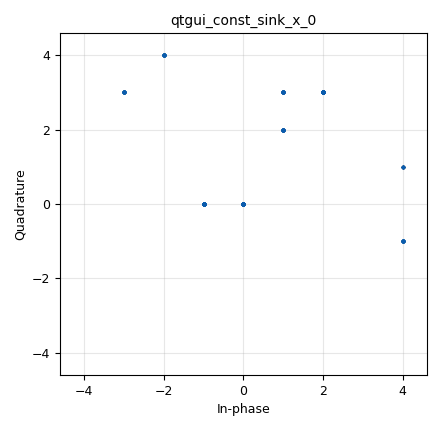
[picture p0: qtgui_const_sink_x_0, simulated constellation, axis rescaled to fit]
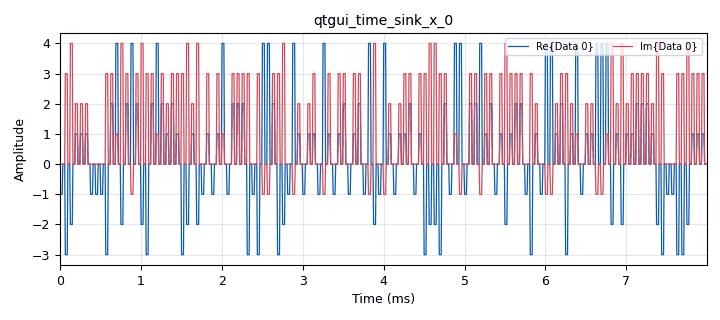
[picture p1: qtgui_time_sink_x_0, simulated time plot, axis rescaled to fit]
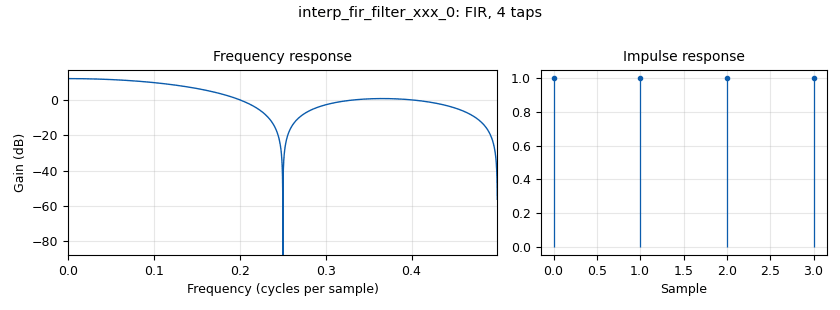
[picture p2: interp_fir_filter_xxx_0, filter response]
options:
  parameters:
    author: Jorge Bernal M
    generate_options: qt_gui
    id: options_1
    output_language: python
    title: eje1
  states: {}

blocks:
- name: M
  id: variable
  parameters:
    value: len(tabla_de_verdad_constelacion)
  states: {}
- name: Rb
  id: variable
  parameters:
    value: Rs*bps
  states: {}
- name: Rs
  id: variable
  parameters:
    value: '32000'
  states: {}
- name: bps
  id: variable
  parameters:
    value: int(math.log(M,2))
  states: {}
- name: h
  id: variable
  parameters:
    value: '[1]*sps'
  states: {}
- name: samp_rate
  id: variable
  parameters:
    value: Rs*sps
  states: {}
- name: sps
  id: variable
  parameters:
    value: '4'
  states: {}
- name: tabla_de_verdad_constelacion
  id: variable
  parameters:
    value: (2 + 3j, 1 + 2j, -3 + 3j, 4 + 1j, 4 - 1j, -2 + 4j, 1 + 3j, -1 + 0j)
  states: {}
- name: analog_random_source_x_0
  id: analog_random_source_x
  parameters:
    max: '2'
    min: '0'
    num_samps: '1000'
    repeat: 'True'
    type: byte
  states: {}
- name: blocks_pack_k_bits_bb_0
  id: blocks_pack_k_bits_bb
  parameters:
    k: '8'
  states: {}
- name: blocks_packed_to_unpacked_xx_0
  id: blocks_packed_to_unpacked_xx
  parameters:
    bits_per_chunk: '3'
    endianness: gr.GR_MSB_FIRST
    type: byte
  states: {}
- name: digital_chunks_to_symbols_xx_0
  id: digital_chunks_to_symbols_xx
  parameters:
    dimension: '1'
    in_type: byte
    out_type: complex
    symbol_table: tabla_de_verdad_constelacion
  states: {}
- name: import_1
  id: import
  parameters:
    imports: import math
  states: {}
- name: interp_fir_filter_xxx_0
  id: interp_fir_filter_xxx
  parameters:
    interp: '8'
    taps: h
    type: ccf
  states: {}
- name: qtgui_const_sink_x_0
  id: qtgui_const_sink_x
  parameters:
    size: '1024'
    type: complex
  states: {}
- name: qtgui_time_sink_x_0
  id: qtgui_time_sink_x
  parameters:
    size: '1024'
    srate: samp_rate
    type: complex
  states: {}

connections:
- [analog_random_source_x_0, '0', blocks_pack_k_bits_bb_0, '0']
- [blocks_pack_k_bits_bb_0, '0', blocks_packed_to_unpacked_xx_0, '0']
- [blocks_packed_to_unpacked_xx_0, '0', digital_chunks_to_symbols_xx_0, '0']
- [digital_chunks_to_symbols_xx_0, '0', interp_fir_filter_xxx_0, '0']
- [interp_fir_filter_xxx_0, '0', qtgui_const_sink_x_0, '0']
- [interp_fir_filter_xxx_0, '0', qtgui_time_sink_x_0, '0']

metadata:
  file_format: 1
  grc_version: 3.10.9.2
